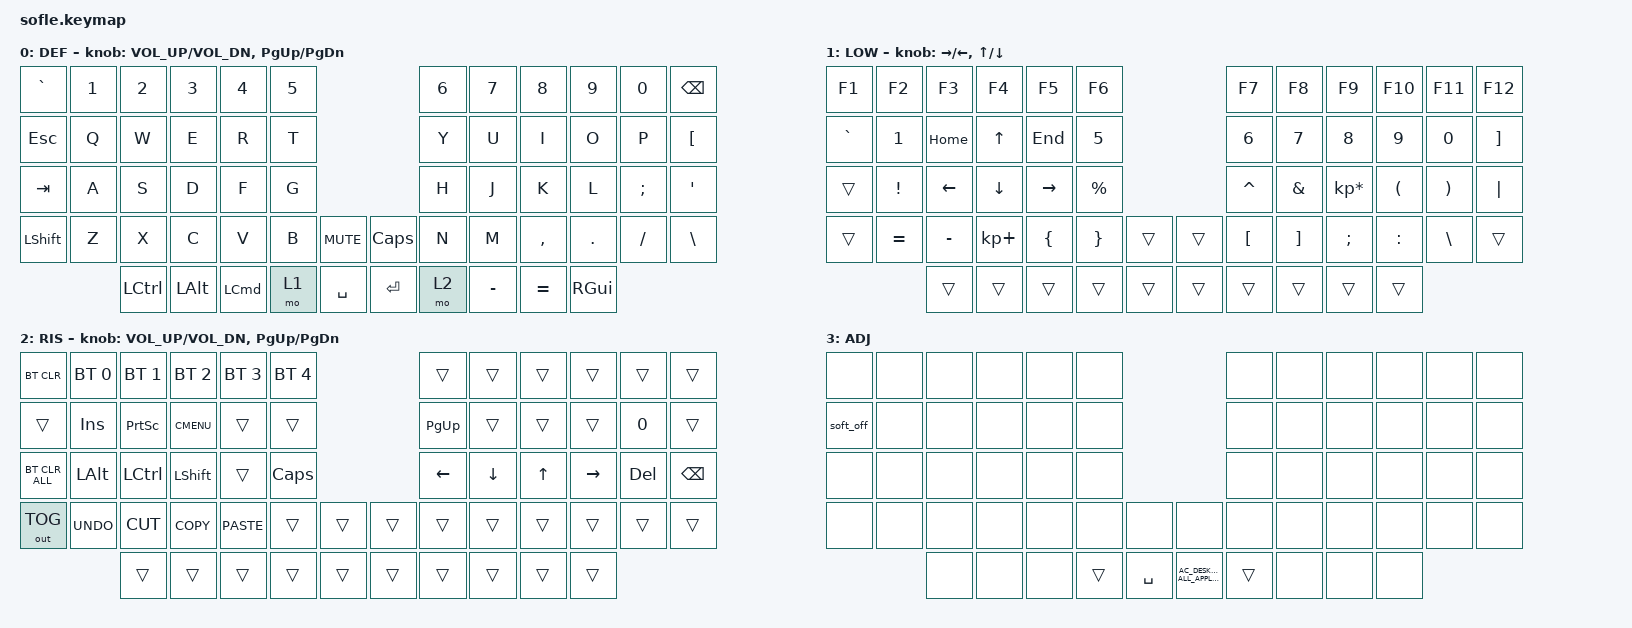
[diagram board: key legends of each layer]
/*
 * Copyright (c) 2020 The ZMK Contributors
 *
 * SPDX-License-Identifier: MIT
 */

#include <behaviors.dtsi>
#include <dt-bindings/zmk/bt.h>
#include <dt-bindings/zmk/keys.h>
#include <dt-bindings/zmk/outputs.h>

#define DEF 0
#define LOW 1
#define RIS 2
#define ADJ 3

/ {
    conditional_layers {
        compatible = "zmk,conditional-layers";

        adjust {
            if-layers = <LOW RIS>;
            then-layer = <ADJ>;
        };
    };
};

/ {
    keymap {
        compatible = "zmk,keymap";

        default_layer {
            // ------------------------------------------------------------------------------------------------------------
            // |  `    |  1  |  2  |  3   |  4   |  5   |                   |  6   |  7    |  8    |  9   |   0   | BKSPC |
            // |  ESC  |  Q  |  W  |  E   |  R   |  T   |                   |  Y   |  U    |  I    |  O   |   P   | BKSPC |
            // |  TAB  |  A  |  S  |  D   |  F   |  G   |                   |  H   |  J    |  K    |  L   |   ;   |   '   |
            // | SHIFT |  Z  |  X  |  C   |  V   |  B   |  MUTE  |  |       |  N   |  M    |  ,    |  .   |   /   | SHIFT |
            //               | GUI | ALT  | CTRL | LOWER|  ENTER |  | SPACE | RAISE| CTRL  | ALT   | GUI  |
            label = "DEF";
            bindings = <
&kp GRAVE  &kp N1  &kp N2            &kp N3    &kp N4            &kp N5                          &kp N6  &kp N7     &kp N8     &kp N9    &kp N0    &kp BSPC
&kp ESC    &kp Q   &kp W             &kp E     &kp R             &kp T                           &kp Y   &kp U      &kp I      &kp O     &kp P     &kp LEFT_BRACKET
&kp TAB    &kp A   &kp S             &kp D     &kp F             &kp G                           &kp H   &kp J      &kp K      &kp L     &kp SEMI  &kp SQT
&kp LSHFT  &kp Z   &kp X             &kp C     &kp V             &kp B   &kp C_MUTE    &kp CLCK  &kp N   &kp M      &kp COMMA  &kp DOT   &kp FSLH  &kp BACKSLASH
                   &kp LEFT_CONTROL  &kp LALT  &kp LEFT_COMMAND  &mo 1   &kp SPACE     &kp RET   &mo 2   &kp MINUS  &kp EQUAL  &kp RGUI
            >;

            sensor-bindings = <&inc_dec_kp C_VOL_UP C_VOL_DN &inc_dec_kp PG_UP PG_DN>;
        };

        lower_layer {
            // TODO: Some binds are waiting for shifted keycode support.
            // ------------------------------------------------------------------------------------------------------------
            // |       |  F1 |  F2 |  F3  |  F4  |  F5  |                   |  F6  |  F7   |  F8   |  F9  |  F10  |  F11  |
            // | `     |   1 |   2 |   3  |   4  |   5  |                   |   6  |   7   |   8   |   9  |    0  |  F12  |
            // |       |  !  |  @  |  #   |  $   |  %   |                   |  ^   |  &    |  *    |  (   |   )   |   |   |
            // |       |  =  |  -  |  +   |  {   |  }   |        |  |       |  [   |  ]    |  ;    |  :   |   \   |       |
            //               |     |      |      |      |        |  |       |      |       |       |      |
            label = "LOW";
            bindings = <
&kp F1     &kp F2     &kp F3     &kp F4          &kp F5     &kp F6                       &kp F7     &kp F8    &kp F9           &kp F10    &kp F11   &kp F12
&kp GRAVE  &kp N1     &kp HOME   &kp UP_ARROW    &kp END    &kp N5                       &kp N6     &kp N7    &kp N8           &kp N9     &kp N0    &kp RIGHT_BRACKET
&trans     &kp EXCL   &kp LEFT   &kp DOWN_ARROW  &kp RIGHT  &kp PRCNT                    &kp CARET  &kp AMPS  &kp KP_MULTIPLY  &kp LPAR   &kp RPAR  &kp PIPE
&trans     &kp EQUAL  &kp MINUS  &kp KP_PLUS     &kp LBRC   &kp RBRC   &trans    &trans  &kp LBKT   &kp RBKT  &kp SEMI         &kp COLON  &kp BSLH  &trans
                      &trans     &trans          &trans     &trans     &trans    &trans  &trans     &trans    &trans           &trans
            >;

            sensor-bindings =
                <&inc_dec_kp RIGHT LEFT_ARROW>,
                <&inc_dec_kp UP_ARROW DOWN_ARROW>;
        };

        raise_layer {
            // ------------------------------------------------------------------------------------------------------------
            // |BTCLR| BT1  | BT2  |  BT3  |  BT4  |  BT5 |                |      |      |       |      |       |       |
            // |     | INS  | PSCR | GUI   |       |      |                | PGUP |      |       |      |       |       |
            // |     | ALT  | CTRL | SHIFT |       | CAPS |                |  <-  |   v  |   ^   |  ->  |  DEL  | BKSPC |
            // |     | UNDO | CUT  | COPY  | PASTE |      |      |  |      |      |      |       |      |       |       |
            //              |      |       |       |      |      |  |      |      |      |       |      |
            label = "RIS";
            bindings = <
&bt BT_CLR      &bt BT_SEL 0  &bt BT_SEL 1  &bt BT_SEL 2  &bt BT_SEL 3  &bt BT_SEL 4                    &trans     &trans    &trans  &trans     &trans   &trans
&trans          &kp INS       &kp PSCRN     &kp K_CMENU   &trans        &trans                          &kp PG_UP  &trans    &trans  &trans     &kp N0   &trans
&bt BT_CLR_ALL  &kp LALT      &kp LCTRL     &kp LSHFT     &trans        &kp CLCK                        &kp LEFT   &kp DOWN  &kp UP  &kp RIGHT  &kp DEL  &kp BSPC
&out OUT_TOG    &kp K_UNDO    &kp K_CUT     &kp K_COPY    &kp K_PASTE   &trans        &trans    &trans  &trans     &trans    &trans  &trans     &trans   &trans
                              &trans        &trans        &trans        &trans        &trans    &trans  &trans     &trans    &trans  &trans
            >;

            sensor-bindings = <&inc_dec_kp C_VOL_UP C_VOL_DN &inc_dec_kp PG_UP PG_DN>;
        };

        adjust_layer {
        label = "ADJ";
            bindings = <
&none      &none  &none  &none  &none  &none                                                        &none   &none  &none  &none  &none  &none
&soft_off  &none  &none  &none  &none  &none                                                        &none   &none  &none  &none  &none  &none
&none      &none  &none  &none  &none  &none                                                        &none   &none  &none  &none  &none  &none
&none      &none  &none  &none  &none  &none   &none        &none                                   &none   &none  &none  &none  &none  &none
                  &none  &none  &none  &trans  &kp SPACE    &kp C_AC_DESKTOP_SHOW_ALL_APPLICATIONS  &trans  &none  &none  &none
            >;
        };
    };
};
